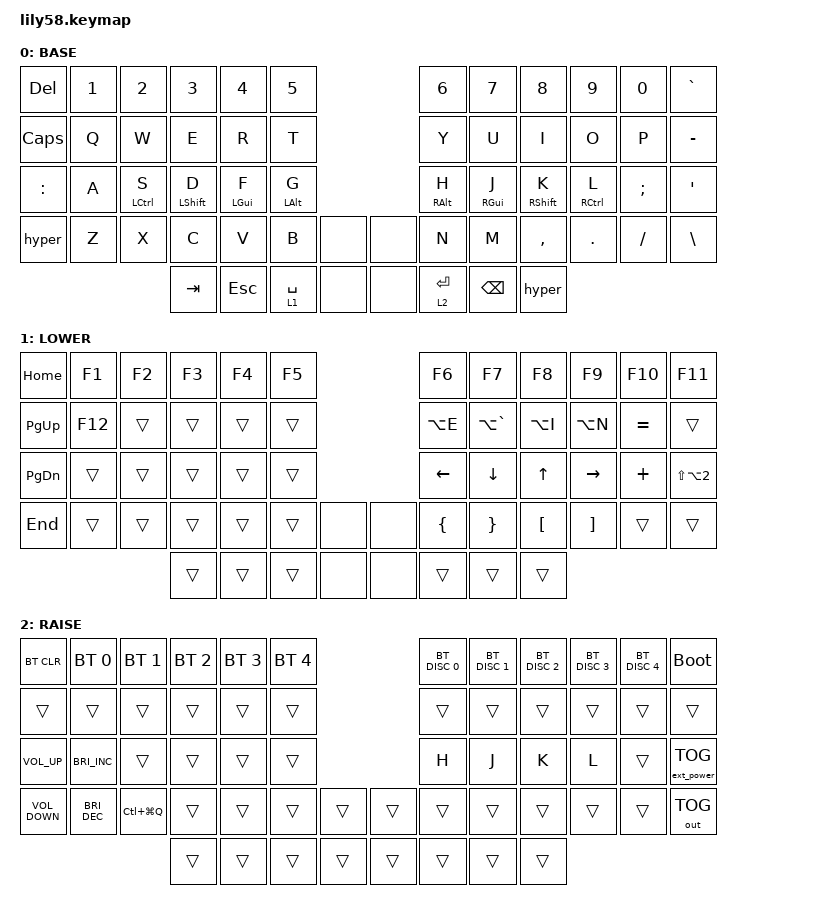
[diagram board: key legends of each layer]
/*
 * Copyright (c) 2020 The ZMK Contributors
 *
 * SPDX-License-Identifier: MIT
 */

#include <behaviors.dtsi>
#include <dt-bindings/zmk/bt.h>
#include <dt-bindings/zmk/ext_power.h>
#include <dt-bindings/zmk/keys.h>
#include <dt-bindings/zmk/outputs.h>

/ {
    macros {
        hyper: hyper {
            compatible = "zmk,behavior-macro";
            #binding-cells = <0>;
            bindings =
                <&macro_press>,
                <&kp LGUI &kp LSHFT &kp LCTRL &kp LALT>,
                <&macro_pause_for_release>,
                <&macro_release>,
                <&kp LGUI &kp LSHFT &kp LCTRL &kp LALT>;

            label = "HYPER";
        };
    };

    behaviors {
        hm: homerow_mod {
            compatible = "zmk,behavior-hold-tap";
            #binding-cells = <2>;
            tapping-term-ms = <150>;
            flavor = "tap-preferred";
            bindings = <&kp>, <&kp>;

            require-prior-idle-ms = <125>;
        };
    };

    keymap {
        compatible = "zmk,keymap";

        default_layer {
            // -----------------------------------------------------------------------------------------------------------------
            // |       |  1  |  2   |   3   |   4   |   5   |                   |  6   |   7   |   8   |   9   |   0   |   `   |
            // |       |  Q  |  W   |   E   |   R   |   T   |                   |  Y   |   U   |   I   |   O   |   P   |   -   |
            // |  TAB  |  A  |S/LSH |D/LCTL | F/GUI |G/LALT |                   |H/RALT| J/GUI |K/RCTL |L/RSHFT|   ;   |   '   |
            // |       |  Z  |  X   |   C   |   V   |   B   |        |  |       |  N   |   M   |   ,   |   .   |   /   |   \   |
            //                      | HYPER | ESC   |LWR/SPC|        |  |       |RSE/ENT| BSPC | HYPER |

            bindings = <
&kp DELETE    &kp N1  &kp N2       &kp N3            &kp N4          &kp N5                          &kp N6           &kp N7           &kp N8             &kp N9       &kp N0         &kp GRAVE
&kp CAPSLOCK  &kp Q   &kp W        &kp E             &kp R           &kp T                           &kp Y            &kp U            &kp I              &kp O        &kp P          &kp MINUS
&kp COLON     &kp A   &hm LCTRL S  &hm LEFT_SHIFT D  &hm LEFT_GUI F  &hm LEFT_ALT G                  &hm RIGHT_ALT H  &hm RIGHT_GUI J  &hm RIGHT_SHIFT K  &hm RCTRL L  &kp SEMICOLON  &kp SQT
&hyper        &kp Z   &kp X        &kp C             &kp V           &kp B           &none    &none  &kp N            &kp M            &kp COMMA          &kp DOT      &kp FSLH       &kp BACKSLASH
                                   &kp TAB           &kp ESC         &lt 1 SPACE     &none    &none  &lt 2 ENTER      &kp BSPC         &hyper
            >;

            label = "BASE";
        };

        lower_layer {
            // -----------------------------------------------------------------------------------------------------------------
            // |  HOME |  F1 |  F2  |  F3   |  F4   |  F5   |                   |  F6  |  F7   |  F8   |  F9  |  F10  |  F11  |
            // | PG_UP |     |      |   €   |       |       |                   |  ´   |   `   |  ^    |   ñ  |   =   |       |
            // | PG_DN |     |      |       |       |       |                   |  <-  |   ^   |   v   |  ->  |       |       |
            // |       |     |      |   ç   |       |       |                   |      |       |   [   |  ]   |       |       |
            //                      |       |       |       |                   |      |  DEL  |       |

            bindings = <
&kp HOME   &kp F1   &kp F2  &kp F3  &kp F4  &kp F5                  &kp F6          &kp F7           &kp F8        &kp F9     &kp F10    &kp F11
&kp PG_UP  &kp F12  &trans  &trans  &trans  &trans                  &kp LA(E)       &kp LA(GRAVE)    &kp LA(I)     &kp LA(N)  &kp EQUAL  &trans
&kp PG_DN  &trans   &trans  &trans  &trans  &trans                  &kp LEFT_ARROW  &kp DOWN_ARROW   &kp UP_ARROW  &kp RIGHT  &kp PLUS   &kp LS(LA(NUMBER_2))
&kp END    &trans   &trans  &trans  &trans  &trans  &none    &none  &kp LEFT_BRACE  &kp RIGHT_BRACE  &kp LBKT      &kp RBKT   &trans     &trans
                            &trans  &trans  &trans  &none    &none  &trans          &trans           &trans
            >;

            label = "LOWER";
        };

        raise_layer {
            // -----------------------------------------------------------------------------------------------------------------
            // |BT_CLR | BT0 | BT1  | BT2   | BT3   | BT4   |                   |BT_DC0|BT_DC1 |BT_DC2 |BT_DC3|BT_DC4 | BOOT  |
            // |       |     |      |       |OUT_TOG| EP_TOG|                   | MUTE | VOL-  | VOL+  |      | LOCK  |       |
            // |       |     |      |       |       |       |                   | PLAY | PREV  | NEXT  |      |       |       |
            // |       |     |      |       |       |       |        |  |       |      | BRI-  | BRI+  |      |       |       |
            //                      |       |       |       |        |  |       |      |       |       |

            bindings = <
&bt BT_CLR         &bt BT_SEL 0          &bt BT_SEL 1   &bt BT_SEL 2  &bt BT_SEL 3  &bt BT_SEL 4                    &bt BT_DISC 0  &bt BT_DISC 1  &bt BT_DISC 2  &bt BT_DISC 3  &bt BT_DISC 4  &bootloader
&trans             &trans                &trans         &trans        &trans        &trans                          &trans         &trans         &trans         &trans         &trans         &trans
&kp C_VOLUME_UP    &kp C_BRIGHTNESS_INC  &trans         &trans        &trans        &trans                          &kp H          &kp J          &kp K          &kp L          &trans         &ext_power EP_TOG
&kp C_VOLUME_DOWN  &kp C_BRIGHTNESS_DEC  &kp LC(LG(Q))  &trans        &trans        &trans        &trans    &trans  &trans         &trans         &trans         &trans         &trans         &out OUT_TOG
                                                        &trans        &trans        &trans        &trans    &trans  &trans         &trans         &trans
            >;

            label = "RAISE";
        };
    };
};
